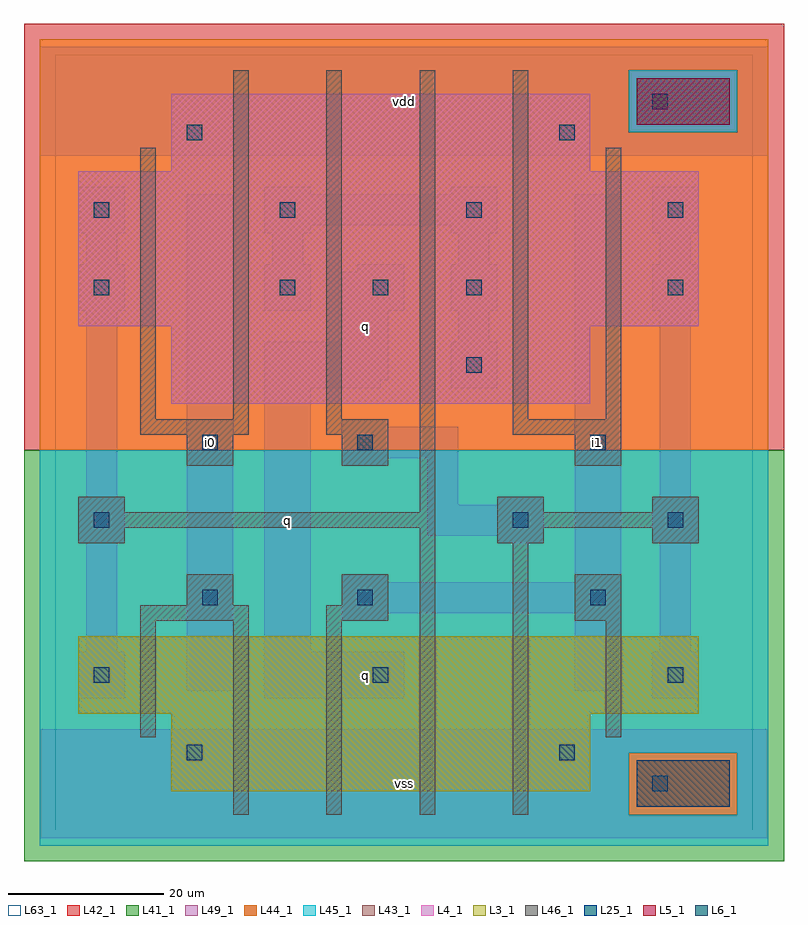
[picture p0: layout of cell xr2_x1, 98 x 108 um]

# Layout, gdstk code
import gdstk
lib = gdstk.Library(unit=1e-6, precision=1e-09)
def R(c, l, rs):  # rectangles x0, y0, x1, y1
    for r in rs: c.add(gdstk.rectangle(r[:2], r[2:], *l))
def A(c, l, x, y, w, h, nx, ny, dx, dy):  # array of equal rectangles
    R(c, l, [(x+i*dx, y+j*dy, x+i*dx+w, y+j*dy+h) for i in range(nx) for j in range(ny)])
L3_1 = (3, 1)
L4_1 = (4, 1)
L5_1 = (5, 1)
L6_1 = (6, 1)
L25_1 = (25, 1)
L41_1 = (41, 1)
L42_1 = (42, 1)
L43_1 = (43, 1)
L44_1 = (44, 1)
L45_1 = (45, 1)
L46_1 = (46, 1)
L49_1 = (49, 1)
L63_1 = (63, 1)

xr2_x1 = lib.new_cell('xr2_x1')
R(xr2_x1, L3_1, [(15,5,69,15), (3,15,83,25)])
R(xr2_x1, L4_1, [(15,55,69,65), (3,65,83,85), (15,85,69,95)])
R(xr2_x1, L5_1, [(75,91,87,97)])
R(xr2_x1, L6_1, [(75,3,87,9)])
A(xr2_x1, L25_1, 29, 69, 2, 2, 3, 1, 12, 0)
A(xr2_x1, L25_1, 5, 79, 2, 2, 3, 1, 24, 0)
R(xr2_x1, L25_1, [(77,5,79,7), (17,9,19,11), (65,9,67,11), (5,19,7,21), (41,19,43,21), (79,19,81,21), (19,29,21,31), (39,29,41,31), (69,29,71,31), (5,39,7,41), (59,39,61,41), (79,39,81,41), (19,49,21,51), (39,49,41,51), (69,49,71,51), (53,59,55,61), (5,69,7,71), (79,69,81,71), (79,79,81,81), (17,89,19,91), (65,89,67,91), (77,93,79,95)])
R(xr2_x1, L41_1, [(-4,-4,94,49)])
R(xr2_x1, L42_1, [(-4,49,94,104)])
R(xr2_x1, L43_1, [(75,3,87,9), (15,5,69,15), (3,15,83,25), (15,55,69,65), (3,65,83,85), (15,85,69,95), (75,91,87,97)])
R(xr2_x1, L44_1, [(74,2,88,10), (-2,49,92,90), (-2,90,74,98), (88,90,92,98), (-2,98,92,102)])
R(xr2_x1, L45_1, [(-2,-2,92,2), (-2,2,74,10), (88,2,92,10), (-2,10,92,49), (74,90,88,98)])
R(xr2_x1, L46_1, [(23,2,25,27), (35,2,37,27), (47,2,49,39), (59,2,61,37), (11,12,13,27), (71,12,73,27), (11,27,25,29), (35,27,43,29), (67,27,73,33), (17,29,23,33), (37,29,43,33), (3,37,9,39), (57,37,63,39), (77,37,83,39), (3,39,49,41), (57,39,83,41), (3,41,9,43), (47,41,49,98), (57,41,63,43), (77,41,83,43), (17,47,23,51), (37,47,43,51), (67,47,73,51), (11,51,25,53), (35,51,43,53), (59,51,73,53), (11,53,13,88), (23,53,25,98), (35,53,37,98), (59,53,61,98), (71,53,73,88)])
A(xr2_x1, L49_1, 3, 67, 6, 6, 3, 1, 24, 0)
A(xr2_x1, L49_1, 4, 73, 4, 4, 3, 1, 24, 0)
R(xr2_x1, L49_1, [(-2,-1,92,13), (3,17,9,23), (27,17,45,23), (77,17,83,23), (17,18,23,82), (67,18,73,28), (4,23,8,37), (27,23,33,57), (78,23,82,37), (37,27,43,28), (37,28,73,32), (37,32,43,33), (67,32,73,82), (3,37,9,43), (57,37,63,38), (77,37,83,43), (48,38,63,42), (48,42,52,48), (57,42,63,43), (4,43,8,67), (78,43,82,67), (37,47,43,48), (37,48,52,52), (37,52,43,53), (27,57,42,58), (51,57,57,63), (27,58,43,63), (37,63,43,67), (52,63,56,67), (37,67,45,72), (77,67,83,73), (39,72,45,73), (78,73,82,77), (3,77,9,83), (27,77,33,78), (51,77,57,78), (77,77,83,83), (27,78,57,82), (27,82,33,83), (51,82,57,83), (-2,87,92,101)])
R(xr2_x1, L63_1, [(0,0,90,100)])
xr2_x1.add(gdstk.Label('q', (30,40), layer=49, texttype=1))
xr2_x1.add(gdstk.Label('q', (30,40), layer=49, texttype=1))
xr2_x1.add(gdstk.Label('i0', (20,50), layer=49, texttype=1))
xr2_x1.add(gdstk.Label('i0', (20,50), layer=49, texttype=1))
xr2_x1.add(gdstk.Label('vss', (45,6), layer=49, texttype=1))
xr2_x1.add(gdstk.Label('vss', (45,6), layer=49, texttype=1))
xr2_x1.add(gdstk.Label('q', (40,20), layer=49, texttype=1))
xr2_x1.add(gdstk.Label('q', (40,20), layer=49, texttype=1))
xr2_x1.add(gdstk.Label('q', (40,65), layer=49, texttype=1))
xr2_x1.add(gdstk.Label('q', (40,65), layer=49, texttype=1))
xr2_x1.add(gdstk.Label('vdd', (45,94), layer=49, texttype=1))
xr2_x1.add(gdstk.Label('vdd', (45,94), layer=49, texttype=1))
xr2_x1.add(gdstk.Label('i1', (70,50), layer=49, texttype=1))
xr2_x1.add(gdstk.Label('i1', (70,50), layer=49, texttype=1))

lib.write_gds('xr2_x1.gds')
